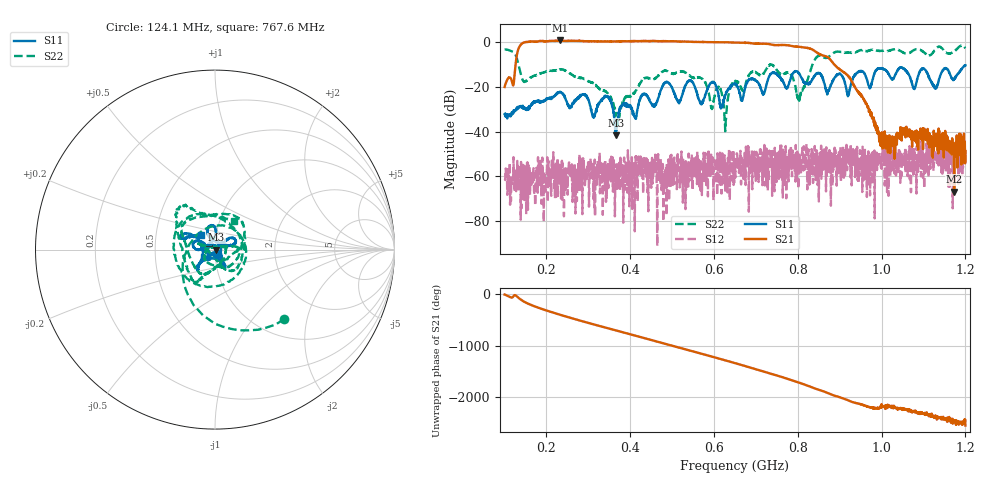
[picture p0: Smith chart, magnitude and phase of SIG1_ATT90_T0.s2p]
# Hz S DB R 50
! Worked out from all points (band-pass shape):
!   1601 points, 100 MHz to 1.2 GHz, reference 50 ohm
!   highest |S21| = 0.49 dB at 232 MHz (marker M1); lowest = -66.7 dB at 1.173 GHz (marker M2)
!   |S21| within 3 dB of the highest: 134.7 MHz to 809.9 MHz (675.2 MHz wide, 143 % of centre)
!   lowest |S11| = -41.7 dB at 365.4 MHz (marker M3), VSWR 1.02, Z = 50.8 - j0.0624 ohm
!   |S11| at or under -10 dB: start of sweep to end of sweep
!   |S22| runs from -39.9 to -1.8 dB; largest |S21 - S12| = 1.1
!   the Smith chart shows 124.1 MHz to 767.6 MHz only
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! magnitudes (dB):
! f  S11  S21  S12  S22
! 100 MHz  -32.3  -20.2  -60.8  -3.6
! 141.9 MHz  -29.2  -0.9  -57.9  -16.5
! 232 MHz  -22.3  0.5  -55.8  -12.4
! 283.6 MHz  -23.7  0.2  -56.1  -16.2
! 312.4 MHz  -32.9  0.1  -54.5  -18.6
! 346.1 MHz  -24.3  0.1  -64.5  -23.0
! 365.4 MHz  -41.7  0.1  -61.0  -33.1
! 467.1 MHz  -25.0  0.2  -53.8  -15.0
! 542.8 MHz  -17.5  -0.1  -55.2  -15.3
! 568.9 MHz  -27.8  -0.2  -53.6  -16.3
! 595.7 MHz  -17.9  -0.3  -59.8  -29.5
! 611.5 MHz  -24.2  -0.3  -55.7  -20.1
! 626.6 MHz  -24.0  -0.3  -66.3  -39.9
! 650 MHz  -19.0  -0.5  -52.2  -17.7
! 717.4 MHz  -23.1  -1.0  -52.1  -14.4
! 737.3 MHz  -14.2  -1.3  -48.1  -10.3
! 803.3 MHz  -14.1  -2.3  -53.2  -26.3
! 833.6 MHz  -17.1  -3.4  -55.7  -11.0
! 921.6 MHz  -23.3  -15.6  -52.9  -4.9
! 1.017 GHz  -14.6  -43.4  -49.0  -4.1
! 1.173 GHz  -16.4  -66.7  -51.4  -4.3
! 1.2 GHz  -10.5  -48.7  -53.9  -2.9
